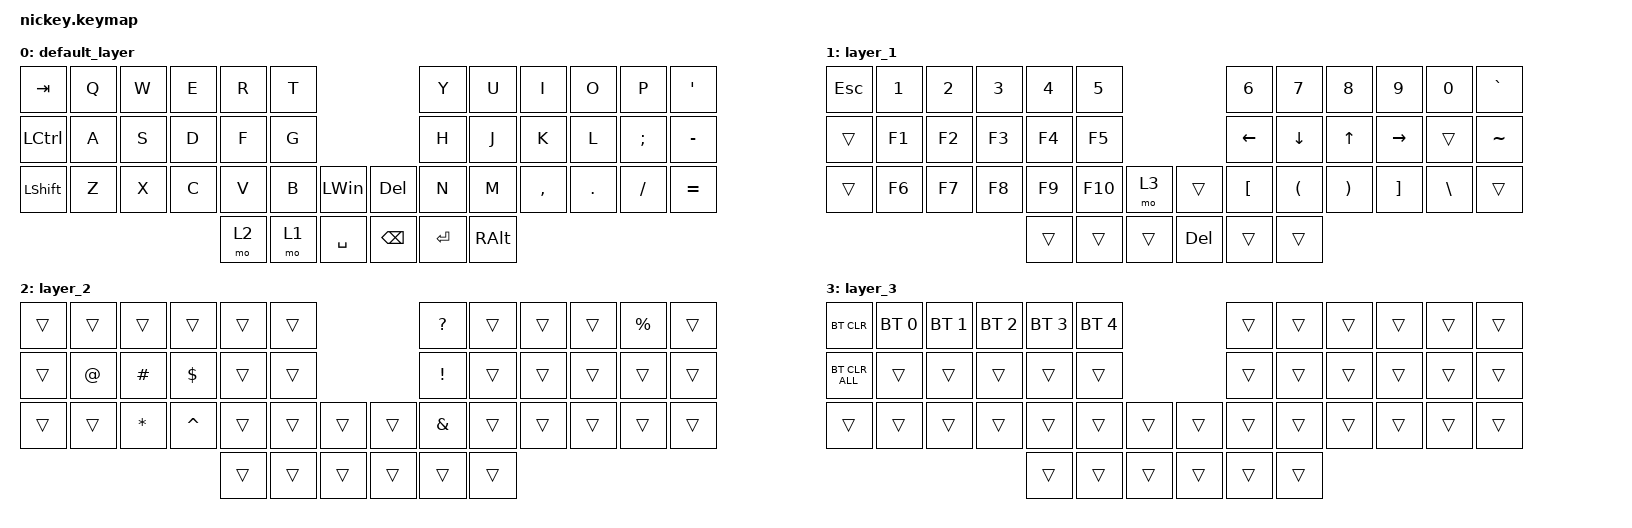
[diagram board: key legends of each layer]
#include <input/processors.dtsi>
#include <dt-bindings/zmk/input_transform.h>
#include <zephyr/dt-bindings/input/input-event-codes.h>
#include <behaviors.dtsi>
#include <dt-bindings/zmk/bt.h>
#include <dt-bindings/zmk/keys.h>
#include <dt-bindings/zmk/pointing.h>
#include <input/processors/sensor_rotation.dtsi>

&mt {
    flavor = "balanced";
    quick-tap-ms = <0>;
};

&lt {
    quick-tap-ms = <300>;
    flavor = "balanced";
};

/ {
    combos {
        compatible = "zmk,combos";

        layer4_ESC {
            bindings = <&lt 4 ESC>;
            key-positions = <39 38>;
        };

        tab {
            bindings = <&kp TAB>;
            key-positions = <11 12>;
        };
    };

    macros {
        to_layer_0: to_layer_0 {
            compatible = "zmk,behavior-macro-one-param";
            #binding-cells = <1>;
            bindings = <&to 0 &macro_param_1to1 &kp MACRO_PLACEHOLDER>;
            label = "TO_LAYER_0";
        };
    };

    behaviors {
        lt_to_layer_0: lt_to_layer_0 {
            compatible = "zmk,behavior-hold-tap";
            label = "LAYER_TAP_TO_0";
            bindings = <&mo>, <&to_layer_0>;

            #binding-cells = <2>;
            tapping-term-ms = <200>;
        };

        scroll_up_down: mouse_wheel_up_down {
            compatible = "zmk,behavior-sensor-rotate";
            #sensor-binding-cells = <0>;
            bindings = <&msc SCRL_DOWN>, <&msc SCRL_UP>;

            tap-ms = <20>;
        };

        scroll_right_left: mouse_wheel_right_left {
            compatible = "zmk,behavior-sensor-rotate";
            #sensor-binding-cells = <0>;
            bindings = <&msc SCRL_LEFT>, <&msc SCRL_RIGHT>;

            tap-ms = <20>;
        };
    };

    keymap {
        compatible = "zmk,keymap";

        default_layer {
            bindings = <
&kp TAB    &kp Q  &kp W  &kp E  &kp R  &kp T                              &kp Y    &kp U     &kp I      &kp O    &kp P     &kp SQT
&kp LCTRL  &kp A  &kp S  &kp D  &kp F  &kp G                              &kp H    &kp J     &kp K      &kp L    &kp SEMI  &kp MINUS
&kp LSHFT  &kp Z  &kp X  &kp C  &kp V  &kp B  &kp LEFT_WIN    &kp DELETE  &kp N    &kp M     &kp COMMA  &kp DOT  &kp FSLH  &kp EQUAL
                                &mo 2  &mo 1  &kp SPACE       &kp BSPC    &kp RET  &kp RALT
            >;
        };

        layer_1 {
            bindings = <
&kp ESCAPE  &kp NUMBER_1  &kp NUMBER_2  &kp NUMBER_3  &kp NUMBER_4  &kp NUMBER_5                        &kp NUMBER_6      &kp N7                &kp N8                 &kp N9             &kp N0         &kp GRAVE
&trans      &kp F1        &kp F2        &kp F3        &kp F4        &kp F5                              &kp LEFT          &kp DOWN              &kp UP                 &kp RIGHT          &trans         &kp TILDE
&trans      &kp F6        &kp F7        &kp F8        &kp F9        &kp F10       &mo 3     &trans      &kp LEFT_BRACKET  &kp LEFT_PARENTHESIS  &kp RIGHT_PARENTHESIS  &kp RIGHT_BRACKET  &kp BACKSLASH  &trans
                                                      &trans        &trans        &trans    &kp DELETE  &trans            &trans
            >;
        };

        layer_2 {
            bindings = <
&trans  &trans  &trans     &trans      &trans  &trans                    &kp QUESTION   &trans  &trans  &trans  &kp PERCENT  &trans
&trans  &kp AT  &kp HASH   &kp DOLLAR  &trans  &trans                    &kp EXCL       &trans  &trans  &trans  &trans       &trans
&trans  &trans  &kp ASTRK  &kp CARET   &trans  &trans  &trans    &trans  &kp AMPERSAND  &trans  &trans  &trans  &trans       &trans
                                       &trans  &trans  &trans    &trans  &trans         &trans
            >;
        };

        layer_3 {
            bindings = <
&bt BT_CLR      &bt BT_SEL 0  &bt BT_SEL 1  &bt BT_SEL 2  &bt BT_SEL 3  &bt BT_SEL 4                    &trans  &trans  &trans  &trans  &trans  &trans
&bt BT_CLR_ALL  &trans        &trans        &trans        &trans        &trans                          &trans  &trans  &trans  &trans  &trans  &trans
&trans          &trans        &trans        &trans        &trans        &trans        &trans    &trans  &trans  &trans  &trans  &trans  &trans  &trans
                                                          &trans        &trans        &trans    &trans  &trans  &trans
            >;
        };
    };
};
